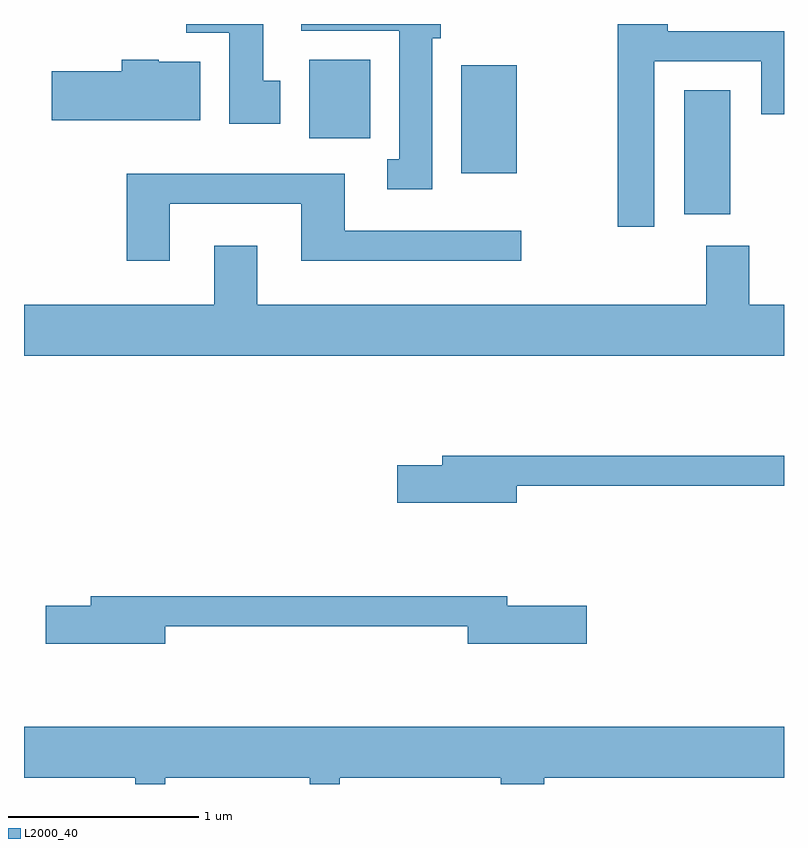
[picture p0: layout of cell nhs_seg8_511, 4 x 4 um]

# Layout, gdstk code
import gdstk
lib = gdstk.Library(unit=1e-6, precision=1e-09)
def R(c, l, rs):  # rectangles x0, y0, x1, y1
    for r in rs: c.add(gdstk.rectangle(r[:2], r[2:], *l))
def P(c, l, *ps):  # polygons
    for p in ps: c.add(gdstk.Polygon(p, *l))
L2000_40 = (2000, 40)

nhs_seg8_511 = lib.new_cell('nhs_seg8_511')
R(nhs_seg8_511, L2000_40, [(203.086,1879.341,203.329,1879.994), (201.911,1879.556,202.204,1880.124), (201.111,1879.741,201.434,1880.154)])
P(nhs_seg8_511, L2000_40, [(202.929,1880.146),(203.491,1880.146),(203.491,1879.868),(203.611,1879.868),(203.611,1880.304),(202.999,1880.304),(202.999,1880.342),(202.736,1880.342),(202.736,1879.276),(202.929,1879.276)],
  [(201.759,1880.266),(201.804,1880.266),(201.804,1880.342),(201.071,1880.342),(201.071,1880.306),(201.586,1880.306),(201.586,1879.629),(201.523,1879.629),(201.523,1879.471),(201.759,1879.471)],
  [(200.959,1880.044),(200.869,1880.044),(200.869,1880.342),(200.466,1880.342),(200.466,1880.296),(200.691,1880.296),(200.691,1879.816),(200.959,1879.816)],
  [(200.539,1880.144),(200.32,1880.144),(200.32,1880.154),(200.126,1880.154),(200.126,1880.094),(199.756,1880.094),(199.756,1879.836),(200.539,1879.836)],
  [(200.379,1879.396),(201.071,1879.396),(201.071,1879.096),(202.228,1879.096),(202.228,1879.254),(201.299,1879.254),(201.299,1879.554),(200.151,1879.554),(200.151,1879.096),(200.379,1879.096)],
  [(203.611,1878.864),(203.429,1878.864),(203.429,1879.174),(203.201,1879.174),(203.201,1878.864),(200.839,1878.864),(200.839,1879.174),(200.611,1879.174),(200.611,1878.864),(199.611,1878.864),(199.611,1878.596),(203.611,1878.596)],
  [(202.204,1877.911),(203.611,1877.911),(203.611,1878.069),(201.811,1878.069),(201.811,1878.019),(201.576,1878.019),(201.576,1877.821),(202.204,1877.821)],
  [(200.354,1877.171),(201.946,1877.171),(201.946,1877.081),(202.574,1877.081),(202.574,1877.279),(202.154,1877.279),(202.154,1877.329),(199.961,1877.329),(199.961,1877.279),(199.726,1877.279),(199.726,1877.081),(200.354,1877.081)],
  [(200.354,1876.376),(201.116,1876.376),(201.116,1876.342),(201.274,1876.342),(201.274,1876.376),(202.121,1876.376),(202.121,1876.342),(202.349,1876.342),(202.349,1876.376),(203.611,1876.376),(203.611,1876.644),(199.611,1876.644),(199.611,1876.376),(200.196,1876.376),(200.196,1876.342),(200.354,1876.342)])

lib.write_gds('nhs_seg8_511.gds')
